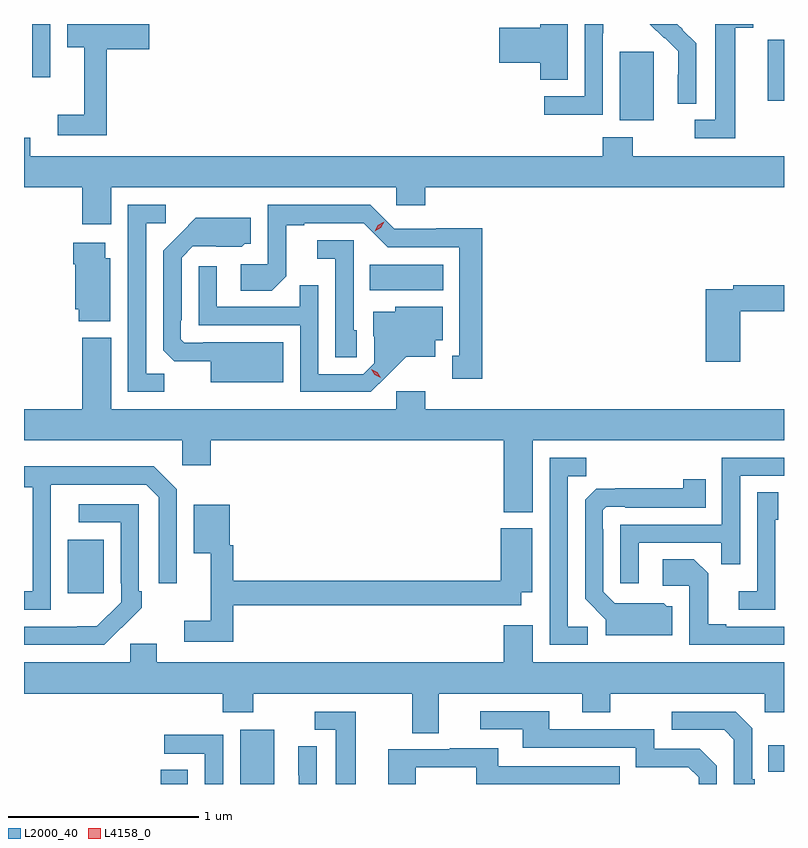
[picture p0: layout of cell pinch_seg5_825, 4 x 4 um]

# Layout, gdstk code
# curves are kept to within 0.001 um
import gdstk
lib = gdstk.Library(unit=1e-6, precision=1e-09)
def R(c, l, rs):  # rectangles x0, y0, x1, y1
    for r in rs: c.add(gdstk.rectangle(r[:2], r[2:], *l))
def P(c, l, *ps):  # polygons
    for p in ps: c.add(gdstk.Polygon(p, *l))
L2000_40 = (2000, 40)
L4158_0 = (4158, 0)

pinch_seg5_825 = lib.new_cell('pinch_seg5_825')
R(pinch_seg5_825, L2000_40, [(789.836,888.252,789.979,888.326), (790.253,888.252,790.432,888.538), (793.033,888.317,793.116,888.457), (789.347,889.257,789.535,889.537), (790.936,890.852,791.323,890.986), (792.251,891.746,792.43,892.107), (793.031,891.849,793.116,892.169), (789.159,891.972,789.255,892.252)])
P(pinch_seg5_825, L2000_40, [(792.859,892.232),(792.955,892.232),(792.955,892.252),(792.755,892.252),(792.755,891.747),(792.645,891.747),(792.645,891.651),(792.859,891.651)],
  [(791.977,892.252),(791.834,892.252),(791.834,892.232),(791.616,892.232),(791.616,892.049),(791.834,892.049),(791.834,891.958),(791.977,891.958)],
  [(792.162,892.204),(792.165,892.204),(792.165,892.252),(792.066,892.252),(792.066,891.873),(791.853,891.873),(791.853,891.775),(792.162,891.775)],
  [(792.654,892.15),(792.581,892.223),(792.582,892.224),(792.554,892.252),(792.41,892.252),(792.486,892.176),(792.489,892.179),(792.56,892.109),(792.56,891.986),(792.558,891.986),(792.558,891.832),(792.654,891.832)],
  [(789.551,892.118),(789.775,892.118),(789.775,892.252),(789.344,892.252),(789.344,892.13),(789.434,892.13),(789.434,891.775),(789.294,891.775),(789.294,891.666),(789.551,891.666)],
  [(789.574,891.392),(791.076,891.392),(791.076,891.299),(791.228,891.299),(791.228,891.392),(793.116,891.392),(793.116,891.556),(792.321,891.556),(792.321,891.655),(792.161,891.655),(792.161,891.556),(789.148,891.556),(789.148,891.654),(789.116,891.654),(789.116,891.392),(789.422,891.392),(789.422,891.198),(789.574,891.198)],
  [(789.855,890.411),(789.759,890.411),(789.759,891.204),(789.862,891.204),(789.862,891.3),(789.663,891.3),(789.663,890.316),(789.855,890.316)],
  [(791.527,891.176),(791.286,891.176),(791.286,891.174),(791.064,891.174),(790.938,891.3),(790.398,891.3),(790.398,890.988),(790.257,890.988),(790.257,890.848),(790.421,890.848),(790.497,890.924),(790.497,891.192),(790.591,891.192),(790.591,891.204),(790.905,891.204),(791.031,891.078),(791.408,891.078),(791.408,890.505),(791.369,890.505),(791.369,890.385),(791.527,890.385)],
  [(790.48,890.578),(790.06,890.578),(790.06,890.574),(789.96,890.574),(789.942,890.592),(789.942,890.692),(789.945,890.692),(789.945,891.021),(790.005,891.081),(790.262,891.08),(790.278,891.096),(790.309,891.096),(790.309,891.232),(790.021,891.232),(789.849,891.058),(789.849,890.536),(789.908,890.477),(790.1,890.477),(790.1,890.366),(790.48,890.366)],
  [(790.866,890.64),(790.851,890.64),(790.851,891.114),(790.659,891.114),(790.659,891.017),(790.755,891.017),(790.755,890.497),(790.866,890.497)],
  [(789.571,891.018),(789.544,891.018),(789.544,891.1),(789.374,891.1),(789.374,890.987),(789.386,890.987),(789.386,890.751),(789.404,890.751),(789.404,890.687),(789.571,890.687)],
  [(791.026,890.399),(791.129,890.501),(791.281,890.501),(791.281,890.588),(791.32,890.588),(791.32,890.764),(791.07,890.764),(791.07,890.737),(790.955,890.737),(790.955,890.608),(790.959,890.608),(790.959,890.466),(790.902,890.409),(790.665,890.409),(790.665,890.876),(790.567,890.876),(790.567,890.763),(790.131,890.763),(790.131,890.977),(790.035,890.977),(790.035,890.667),(790.569,890.667),(790.569,890.316),(790.942,890.316)],
  [(792.887,890.74),(793.116,890.74),(793.116,890.876),(792.85,890.876),(792.85,890.856),(792.704,890.856),(792.704,890.475),(792.887,890.475)],
  [(791.794,890.06),(793.116,890.06),(793.116,890.224),(791.228,890.224),(791.228,890.32),(791.076,890.32),(791.076,890.224),(789.574,890.224),(789.574,890.602),(789.422,890.602),(789.422,890.224),(789.116,890.224),(789.116,890.06),(789.948,890.06),(789.948,889.929),(790.1,889.929),(790.1,890.06),(791.642,890.06),(791.642,889.682),(791.794,889.682)],
  [(792.351,889.521),(792.787,889.521),(792.787,889.408),(792.885,889.408),(792.885,889.875),(793.116,889.875),(793.116,889.968),(792.789,889.968),(792.789,889.617),(792.255,889.617),(792.255,889.308),(792.351,889.308)],
  [(792.082,889.08),(791.979,889.08),(791.979,889.873),(792.075,889.873),(792.075,889.968),(791.883,889.968),(791.883,888.984),(792.082,888.984)],
  [(789.258,889.827),(789.759,889.827),(789.825,889.761),(789.825,889.308),(789.921,889.308),(789.921,889.803),(789.8,889.924),(789.116,889.924),(789.116,889.814),(789.162,889.814),(789.162,889.266),(789.116,889.266),(789.116,889.17),(789.258,889.17)],
  [(792.529,889.188),(792.498,889.188),(792.482,889.204),(792.225,889.203),(792.165,889.263),(792.165,889.592),(792.162,889.592),(792.162,889.692),(792.18,889.71),(792.28,889.71),(792.28,889.707),(792.704,889.707),(792.704,889.855),(792.586,889.855),(792.586,889.808),(792.128,889.807),(792.069,889.748),(792.069,889.226),(792.179,889.116),(792.179,889.034),(792.529,889.034)],
  [(793.071,889.644),(793.086,889.644),(793.086,889.787),(792.975,889.787),(792.975,889.267),(792.879,889.267),(792.879,889.17),(793.071,889.17)],
  [(789.629,889.075),(789.63,889.074),(789.735,889.179),(789.735,889.267),(789.72,889.267),(789.72,889.725),(789.405,889.725),(789.405,889.629),(789.624,889.629),(789.624,889.309),(789.627,889.309),(789.627,889.209),(789.499,889.081),(789.116,889.08),(789.116,888.984),(789.538,888.984)],
  [(790.217,889.194),(791.734,889.194),(791.734,889.262),(791.791,889.262),(791.791,889.597),(791.624,889.597),(791.624,889.322),(790.217,889.322),(790.217,889.509),(790.198,889.509),(790.198,889.723),(790.01,889.723),(790.01,889.466),(790.1,889.466),(790.1,889.111),(789.96,889.111),(789.96,889.002),(790.217,889.002)],
  [(793.116,889.08),(792.811,889.08),(792.811,889.093),(792.717,889.093),(792.717,889.36),(792.641,889.436),(792.477,889.436),(792.477,889.296),(792.618,889.296),(792.618,888.984),(793.116,888.984)],
  [(791.299,888.728),(792.053,888.728),(792.053,888.629),(792.201,888.629),(792.201,888.728),(793.014,888.728),(793.014,888.629),(793.116,888.629),(793.116,888.892),(791.794,888.892),(791.794,889.087),(791.642,889.087),(791.642,888.892),(789.814,888.892),(789.814,888.99),(789.675,888.99),(789.675,888.892),(789.116,888.892),(789.116,888.728),(790.163,888.728),(790.163,888.629),(790.323,888.629),(790.323,888.728),(791.159,888.728),(791.159,888.52),(791.299,888.52)],
  [(792.762,888.348),(792.672,888.438),(792.432,888.438),(792.432,888.54),(791.881,888.54),(791.881,888.636),(791.517,888.636),(791.517,888.54),(791.741,888.54),(791.741,888.444),(792.336,888.444),(792.336,888.341),(792.613,888.341),(792.666,888.288),(792.666,888.252),(792.762,888.252)],
  [(790.861,888.633),(790.647,888.633),(790.647,888.537),(790.757,888.537),(790.757,888.252),(790.861,888.252)],
  [(792.961,888.277),(792.948,888.277),(792.948,888.546),(792.861,888.633),(792.525,888.633),(792.525,888.537),(792.801,888.537),(792.852,888.486),(792.852,888.252),(792.961,888.252)],
  [(790.164,888.51),(789.855,888.51),(789.855,888.411),(790.068,888.411),(790.068,888.252),(790.164,888.252)],
  [(790.656,888.452),(790.56,888.452),(790.56,888.298),(790.562,888.298),(790.562,888.252),(790.656,888.252)],
  [(791.178,888.339),(791.496,888.339),(791.496,888.252),(792.251,888.252),(792.251,888.345),(791.611,888.345),(791.611,888.439),(791.357,888.439),(791.357,888.435),(791.033,888.435),(791.033,888.252),(791.178,888.252)])
P(pinch_seg5_825, L4158_0, [(790.961,891.161),(790.961,891.161),(790.979,891.194),(791.011,891.212),(791.011,891.212),(791.011,891.212),(790.994,891.18),(790.962,891.161)],
  [(790.993,890.39),(790.962,890.405),(790.944,890.435),(790.944,890.435),(790.944,890.435),(790.975,890.42),(790.993,890.39),(790.993,890.39)])

lib.write_gds('pinch_seg5_825.gds')
